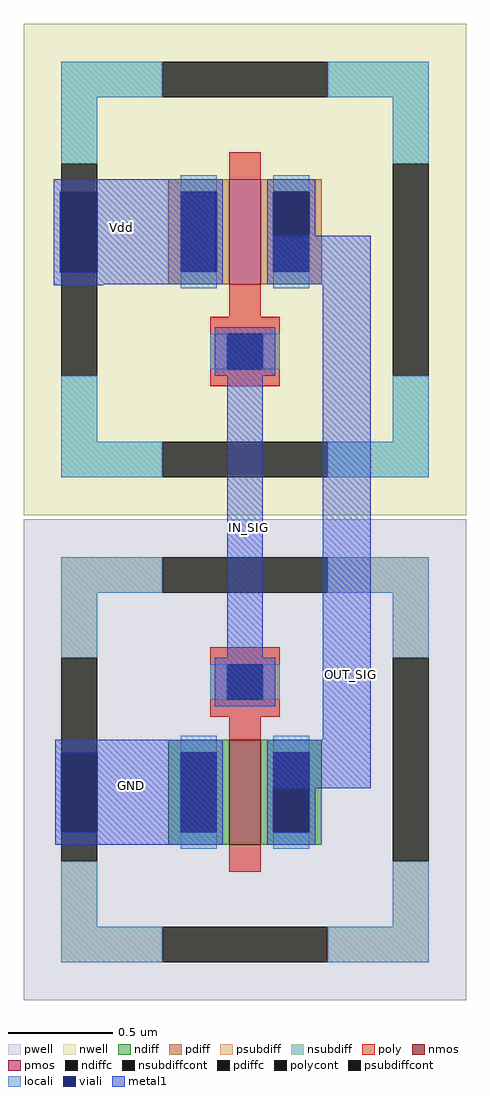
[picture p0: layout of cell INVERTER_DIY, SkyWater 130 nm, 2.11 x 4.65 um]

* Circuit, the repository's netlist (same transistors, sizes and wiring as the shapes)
** sch_path: /home/jay_mosfet/latihan_cmos/INVERTER_DIY.sch
.subckt INVERTER_DIY Vdd IN_SIG OUT_SIG GND
*.PININFO IN_SIG:I Vdd:I GND:I OUT_SIG:O
XM1 OUT_SIG IN_SIG Vdd Vdd sky130_fd_pr__pfet_01v8 L=0.15 W=0.5 nf=1 m=1
XM2 OUT_SIG IN_SIG GND GND sky130_fd_pr__nfet_01v8 L=0.15 W=0.5 nf=1 m=1
.ends
.end

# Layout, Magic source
magic
tech sky130A
magscale 1 2
<< viali >>
rect -18 1246 17 1323
rect -17 713 17 789
<< metal1 >>
rect -24 1323 129 1335
rect -24 1246 -18 1323
rect 17 1246 129 1323
rect -24 1235 129 1246
rect 185 1235 278 1281
rect -24 1234 23 1235
rect 141 839 175 1188
rect 232 801 278 1235
rect -23 789 131 801
rect -23 713 -17 789
rect 17 713 131 789
rect 179 755 278 801
rect -23 701 131 713
use sky130_fd_pr__pfet_01v8_LJ7GBL  XM1
transform 1 0 158 0 1 1249
box -211 -234 211 234
use sky130_fd_pr__nfet_01v8_L9KS9E  XM2
transform 1 0 158 0 1 782
box -211 -229 211 229
<< labels >>
flabel metal1 40 1289 40 1289 0 FreeSans 160 0 0 0 Vdd
port 1 nsew
flabel metal1 50 757 50 757 0 FreeSans 160 0 0 0 GND
port 3 nsew
flabel metal1 161 1003 161 1003 0 FreeSans 160 0 0 0 IN_SIG
port 5 nsew
flabel metal1 259 863 259 863 0 FreeSans 160 0 0 0 OUT_SIG
port 7 nsew
<< end >>

# cell sky130_fd_pr__pfet_01v8_LJ7GBL: kit device sky130_fd_pr__pfet_01v8, w 0.5 l 0.15 m 1 nf 1 diffcov 100 polycov 100 guard 1 glc 1 grc 1 gtc 1 gbc 1 tbcov 100 rlcov 100 topc 0 botc 1 poverlap 0 doverlap 1 lmin 0.15 wmin 0.42 compatible {sky130_fd_pr__pfet_01v8 sky130_fd_pr__pfet_01v8_lvt sky130_fd_pr__pfet_01v8_hvt sky130_fd_pr__pfet_g5v0d10v5} full_metal 1 viasrc 100 viadrn 100 viagate 100 viagb 0 viagr 0 viagl 0 viagt 0

# cell sky130_fd_pr__nfet_01v8_L9KS9E: kit device sky130_fd_pr__nfet_01v8, w 0.5 l 0.15 m 1 nf 1 diffcov 100 polycov 100 guard 1 glc 1 grc 1 gtc 1 gbc 1 tbcov 100 rlcov 100 topc 1 botc 0 poverlap 0 doverlap 1 lmin 0.15 wmin 0.42 compatible {sky130_fd_pr__nfet_01v8 sky130_fd_pr__nfet_01v8_lvt sky130_fd_bs_flash__special_sonosfet_star sky130_fd_pr__nfet_g5v0d10v5 sky130_fd_pr__nfet_05v0_nvt sky130_fd_pr__nfet_03v3_nvt} full_metal 1 viasrc 100 viadrn 100 viagate 100 viagb 0 viagr 0 viagl 0 viagt 0
